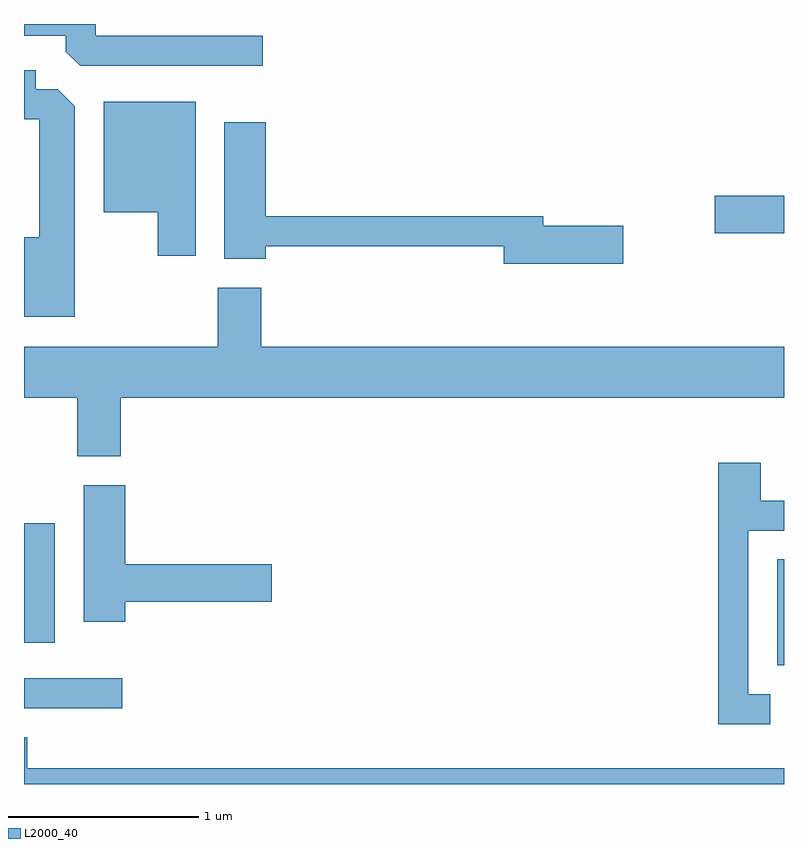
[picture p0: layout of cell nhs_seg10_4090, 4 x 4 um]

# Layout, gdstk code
import gdstk
lib = gdstk.Library(unit=1e-6, precision=1e-09)
def R(c, l, rs):  # rectangles x0, y0, x1, y1
    for r in rs: c.add(gdstk.rectangle(r[:2], r[2:], *l))
def P(c, l, *ps):  # polygons
    for p in ps: c.add(gdstk.Polygon(p, *l))
L2000_40 = (2000, 40)

nhs_seg10_4090 = lib.new_cell('nhs_seg10_4090')
R(nhs_seg10_4090, L2000_40, [(305.611,2138.921,306.128,2139.079), (309.576,2139.146,309.611,2139.704), (305.611,2139.266,305.774,2139.894), (309.246,2141.421,309.611,2141.619)])
P(nhs_seg10_4090, L2000_40, [(306.868,2142.459),(305.989,2142.459),(305.989,2142.522),(305.611,2142.522),(305.611,2142.461),(305.831,2142.461),(305.831,2142.377),(305.907,2142.301),(306.868,2142.301)],
  [(305.879,2142.089),(305.789,2142.179),(305.674,2142.179),(305.674,2142.279),(305.611,2142.279),(305.611,2142.021),(305.691,2142.021),(305.691,2141.399),(305.611,2141.399),(305.611,2140.981),(305.879,2140.981)],
  [(306.514,2142.114),(306.031,2142.114),(306.031,2141.531),(306.316,2141.531),(306.316,2141.301),(306.514,2141.301)],
  [(308.764,2141.459),(308.344,2141.459),(308.344,2141.509),(306.884,2141.509),(306.884,2142.004),(306.666,2142.004),(306.666,2141.286),(306.884,2141.286),(306.884,2141.351),(308.136,2141.351),(308.136,2141.261),(308.764,2141.261)],
  [(306.119,2140.556),(309.611,2140.556),(309.611,2140.824),(306.859,2140.824),(306.859,2141.134),(306.631,2141.134),(306.631,2140.824),(305.611,2140.824),(305.611,2140.556),(305.891,2140.556),(305.891,2140.246),(306.119,2140.246)],
  [(309.538,2138.994),(309.424,2138.994),(309.424,2139.856),(309.611,2139.856),(309.611,2140.014),(309.489,2140.014),(309.489,2140.214),(309.266,2140.214),(309.266,2138.836),(309.538,2138.836)],
  [(306.144,2139.481),(306.914,2139.481),(306.914,2139.679),(306.144,2139.679),(306.144,2140.094),(305.926,2140.094),(305.926,2139.376),(306.144,2139.376)],
  [(309.611,2138.604),(305.629,2138.604),(305.629,2138.769),(305.611,2138.769),(305.611,2138.522),(309.611,2138.522)])

lib.write_gds('nhs_seg10_4090.gds')
